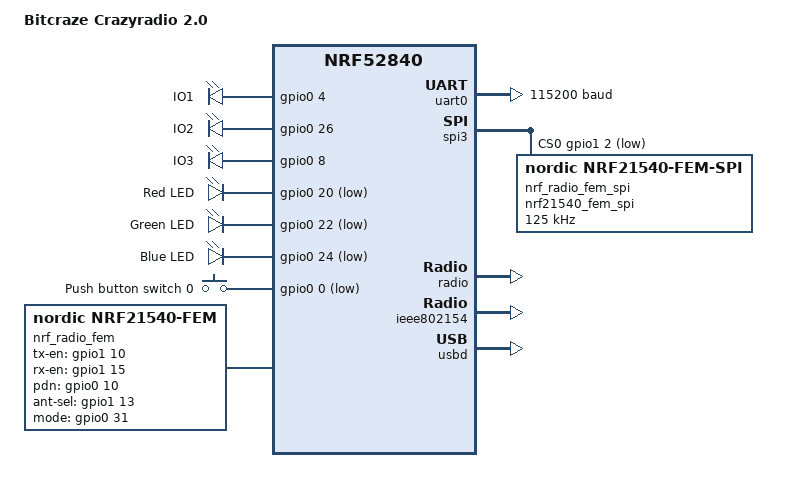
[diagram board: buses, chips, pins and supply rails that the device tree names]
/*
 * Copyright (c) 2022 Bitcraze AB
 * Copyright (c) 2020 Nordic Semiconductor ASA
 * Copyright (c) 2017 Linaro Limited
 *
 * SPDX-License-Identifier: Apache-2.0
 */

/dts-v1/;
#include <nordic/nrf52840_qiaa.dtsi>
#include "bitcraze_crazyradio_2-pinctrl.dtsi"

/ {
	model = "Bitcraze Crazyradio 2.0";
	compatible = "nordic,bitcraze_crazyradio_2";

	chosen {
		// zephyr,console = &uart0;
		// zephyr,shell-uart = &uart0;
		// zephyr,uart-mcumgr = &uart0;
		// zephyr,bt-mon-uart = &uart0;
		// zephyr,bt-c2h-uart = &uart0;
		zephyr,console = &cdc_acm_uart;
		zephyr,shell-uart = &cdc_acm_uart;
		zephyr,uart-mcumgr = &cdc_acm_uart;
		zephyr,bt-mon-uart = &cdc_acm_uart;
		zephyr,bt-c2h-uart = &cdc_acm_uart;
		zephyr,sram = &sram0;
		zephyr,flash = &flash0;
		zephyr,code-partition = &slot0_partition;
		zephyr,ieee802154 = &ieee802154;
	};

	ios {
		compatible = "gpio-leds";
		io1: io_1 {
			gpios = <&gpio0 4 GPIO_ACTIVE_HIGH>;
			label = "IO1";
		};
		io2: io_2 {
			gpios = <&gpio0 26 GPIO_ACTIVE_HIGH>;
			label = "IO2";
		};
		io3: io_3 {
			gpios = <&gpio0 8 GPIO_ACTIVE_HIGH>;
			label = "IO3";
		};
	};

	leds {
		compatible = "gpio-leds";
		led0: led_0 {
			gpios = <&gpio0 20 GPIO_ACTIVE_LOW>;
			label = "Red LED";
		};
		led1: led_1 {
			gpios = <&gpio0 22 GPIO_ACTIVE_LOW>;
			label = "Green LED";
		};
		led2: led_2 {
			gpios = <&gpio0 24 GPIO_ACTIVE_LOW>;
			label = "Blue LED";
		};
	};

	buttons {
		compatible = "gpio-keys";
		button0: button_0 {
			gpios = <&gpio0 0 (GPIO_PULL_UP | GPIO_ACTIVE_LOW)>;
			label = "Push button switch 0";
		};
	};

	nrf_radio_fem: nrf21540_fem {
		compatible = "nordic,nrf21540-fem";
		tx-en-gpios = <&gpio1 10 GPIO_ACTIVE_HIGH>;
		rx-en-gpios = <&gpio1 15 GPIO_ACTIVE_HIGH>;
		pdn-gpios = <&gpio0 10 GPIO_ACTIVE_HIGH>;
		ant-sel-gpios = <&gpio1 13 GPIO_ACTIVE_HIGH>;
		mode-gpios = <&gpio0 31 GPIO_ACTIVE_HIGH>;
		spi-if = <&nrf_radio_fem_spi>;
	};

	/* These aliases are provided for compatibility with samples */
	aliases {
		io1 = &io1;
		io2 = &io2;
		io3 = &io3;
		led0 = &led0;
		led1 = &led1;
		led2 = &led2;
		sw0 = &button0;
		bootloader-led0 = &led0;
		mcuboot-button0 = &button0;
		mcuboot-led0 = &led0;
		watchdog0 = &wdt0;
	};
};

&uicr {
	gpio-as-nreset;
	nfct-pins-as-gpios;
};

&gpiote {
	status = "okay";
};

&gpio0 {
	status = "okay";
};

&gpio1 {
	status = "okay";
};

&uart0 {
	compatible = "nordic,nrf-uarte";
	status = "okay";
	current-speed = <115200>;
	pinctrl-0 = <&uart0_default>;
	pinctrl-1 = <&uart0_sleep>;
	pinctrl-names = "default", "sleep";
};

fem_spi: &spi3 {
	status = "okay";
	cs-gpios = <&gpio1 2 GPIO_ACTIVE_LOW>;

	pinctrl-0 = <&spi3_default>;
	pinctrl-1 = <&spi3_sleep>;
	pinctrl-names = "default", "sleep";
	nrf_radio_fem_spi: nrf21540_fem_spi@0 {
		compatible = "nordic,nrf21540-fem-spi";
		status = "okay";
		reg = <0>;
		spi-max-frequency = <125000>;
	};
};

&radio {
	fem = <&nrf_radio_fem>;
};

&ieee802154 {
	status = "okay";
};

/* Include flash partition table.
 * Two partition tables are available:
 * fstab-stock		-compatible with Nordic nRF5 bootloader, default
 * fstab-debugger	-to use an external debugger, w/o the nRF5 bootloader
 */
#include "fstab-debugger.dts"

zephyr_udc0: &usbd {
	compatible = "nordic,nrf-usbd";
	status = "okay";

	cdc_acm_uart: cdc_acm_uart {
		compatible = "zephyr,cdc-acm-uart";
	};
};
